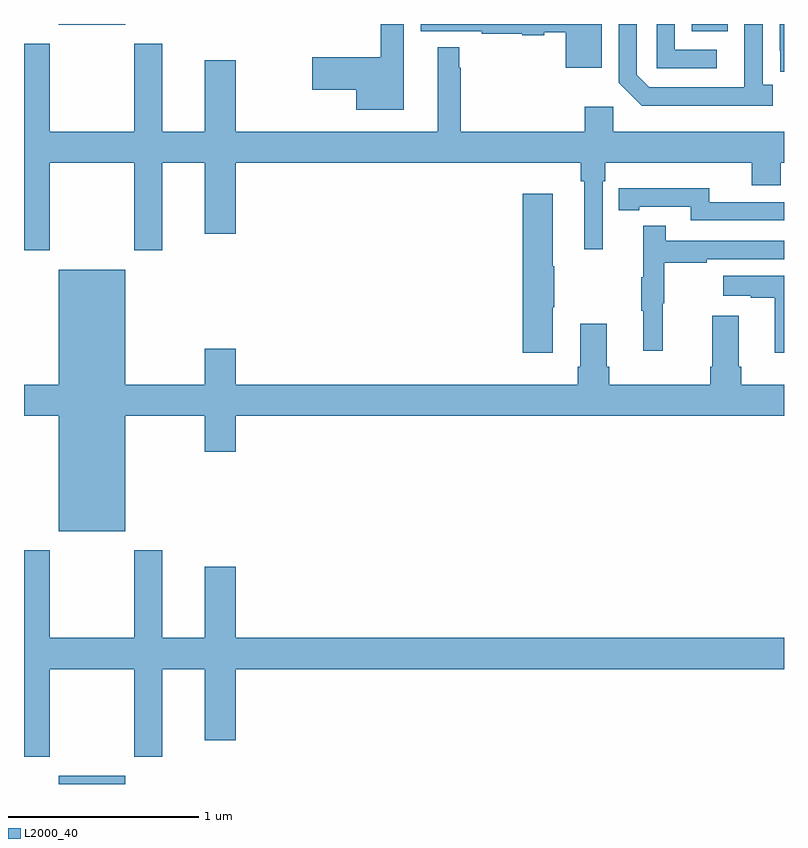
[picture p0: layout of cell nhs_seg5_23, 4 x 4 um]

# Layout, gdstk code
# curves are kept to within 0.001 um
import gdstk
lib = gdstk.Library(unit=1e-6, precision=1e-09)
def R(c, l, rs):  # rectangles x0, y0, x1, y1
    for r in rs: c.add(gdstk.rectangle(r[:2], r[2:], *l))
def P(c, l, *ps):  # polygons
    for p in ps: c.add(gdstk.Polygon(p, *l))
L2000_40 = (2000, 40)

nhs_seg5_23 = lib.new_cell('nhs_seg5_23')
R(nhs_seg5_23, L2000_40, [(111.182,878.799,111.532,878.842), (114.515,882.761,114.703,882.799), (111.182,882.794,111.532,882.799)])
P(nhs_seg5_23, L2000_40, [(114.94,882.478),(114.888,882.478),(114.888,882.799),(114.792,882.799),(114.791,882.465),(114.291,882.465),(114.225,882.531),(114.225,882.799),(114.129,882.799),(114.129,882.489),(114.25,882.368),(114.94,882.368)],
  [(114.646,882.663),(114.426,882.663),(114.426,882.799),(114.33,882.799),(114.33,882.567),(114.646,882.567)],
  [(114.04,882.799),(113.087,882.799),(113.087,882.761),(113.41,882.761),(113.41,882.748),(113.622,882.748),(113.622,882.74),(113.739,882.74),(113.739,882.755),(113.852,882.755),(113.852,882.569),(114.04,882.569)],
  [(112.999,882.799),(112.878,882.799),(112.878,882.623),(112.518,882.623),(112.518,882.452),(112.748,882.452),(112.748,882.347),(112.999,882.347)],
  [(115,882.799),(114.978,882.799),(114.978,882.658),(114.979,882.658),(114.979,882.549),(115,882.549)],
  [(111.135,882.068),(111.58,882.068),(111.58,881.607),(111.727,881.607),(111.727,882.068),(111.95,882.068),(111.95,881.694),(112.114,881.694),(112.114,882.068),(113.929,882.068),(113.929,881.972),(113.948,881.972),(113.948,881.613),(114.045,881.613),(114.045,881.972),(114.059,881.972),(114.059,882.068),(114.83,882.068),(114.83,881.951),(114.983,881.951),(114.983,882.068),(115,882.068),(115,882.232),(114.102,882.232),(114.102,882.364),(113.951,882.364),(113.951,882.232),(113.299,882.232),(113.299,882.569),(113.292,882.569),(113.292,882.676),(113.177,882.676),(113.177,882.232),(112.114,882.232),(112.114,882.607),(111.95,882.607),(111.95,882.232),(111.727,882.232),(111.727,882.694),(111.58,882.694),(111.58,882.232),(111.135,882.232),(111.135,882.694),(111,882.694),(111,881.607),(111.135,881.607)],
  [(115,881.862),(114.606,881.862),(114.606,881.935),(114.238,881.935),(114.238,881.934),(114.13,881.934),(114.13,881.818),(114.238,881.818),(114.238,881.838),(114.51,881.838),(114.51,881.766),(115,881.766)],
  [(113.782,881.308),(113.79,881.308),(113.79,881.525),(113.782,881.525),(113.782,881.905),(113.624,881.905),(113.624,881.07),(113.782,881.07)],
  [(114.362,881.328),(114.37,881.328),(114.37,881.542),(114.593,881.542),(114.593,881.562),(115,881.562),(115,881.658),(114.377,881.658),(114.377,881.737),(114.26,881.737),(114.26,881.465),(114.249,881.465),(114.249,881.291),(114.26,881.291),(114.26,881.079),(114.362,881.079)],
  [(111.532,880.736),(111.95,880.736),(111.95,880.548),(112.114,880.548),(112.114,880.736),(115,880.736),(115,880.9),(114.776,880.9),(114.776,880.996),(114.763,880.996),(114.763,881.263),(114.623,881.263),(114.623,880.996),(114.611,880.996),(114.611,880.9),(114.08,880.9),(114.08,880.996),(114.067,880.996),(114.067,881.221),(113.927,881.221),(113.927,880.996),(113.915,880.996),(113.915,880.9),(112.114,880.9),(112.114,881.089),(111.95,881.089),(111.95,880.9),(111.532,880.9),(111.532,881.506),(111.182,881.506),(111.182,880.9),(111,880.9),(111,880.736),(111.182,880.736),(111.182,880.13),(111.532,880.13)],
  [(115,881.473),(114.681,881.473),(114.681,881.369),(114.824,881.369),(114.824,881.359),(114.95,881.359),(114.95,881.07),(115,881.07)],
  [(111.135,879.404),(111.58,879.404),(111.58,878.943),(111.727,878.943),(111.727,879.404),(111.95,879.404),(111.95,879.03),(112.114,879.03),(112.114,879.404),(115,879.404),(115,879.568),(112.114,879.568),(112.114,879.943),(111.95,879.943),(111.95,879.568),(111.727,879.568),(111.727,880.03),(111.58,880.03),(111.58,879.568),(111.135,879.568),(111.135,880.03),(111,880.03),(111,878.943),(111.135,878.943)])

lib.write_gds('nhs_seg5_23.gds')
